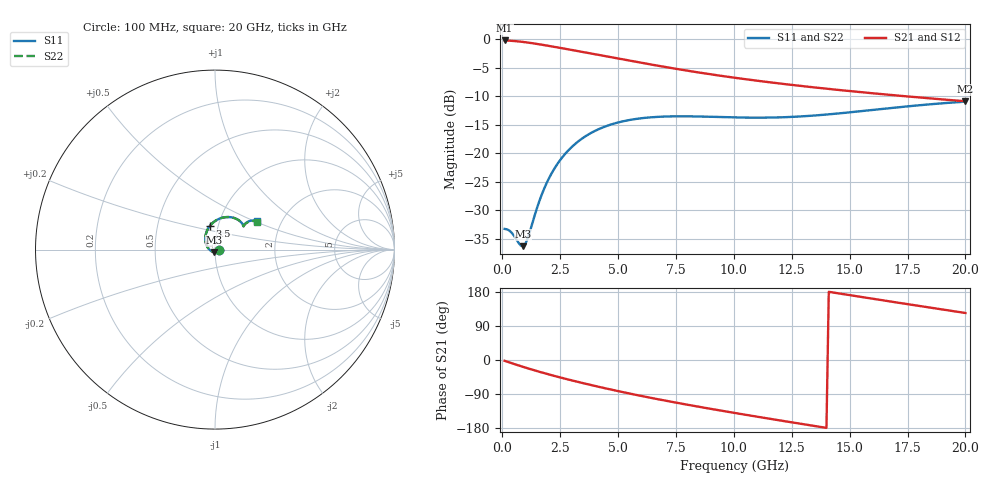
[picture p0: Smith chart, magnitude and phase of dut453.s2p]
! Touchstone file exported from HFSS 2024.1.0
!  File:  C:/UserFiles/LocalFiles/RDL_TSV_Batchsim/temp_RDL_TSV_453_1779725538.aedt
!  Generated:  12:24:52 AM May 26, 2026
!  Design:  RDL_TSV
!  Project:  temp_RDL_TSV_453_1779725538
!  Setup:  Setup1
!  Solution:  Sweep
! Variables:
!  dtsv = 12.44um
!  hbump = 3um
!  htsv = 98.19um
!  ldown = 657.47um
!  lrdl = 253.95um
!  p = 40
!  p1 = 40.43um
!  rhole = 10um
!  subl = 2988.21um
!  t = 450um
!  tdown = 3.58um
!  trdl = 2.35um
!  viad = 10um
!  wdown = 14.39um
!  wrdl = 19.14um
!  xbump = 18um
# GHz S MA R 50.000000
! Terminal data exported
! Port[1] = TM1_1_T1
! Port[2] = TM1_4_T1
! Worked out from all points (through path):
!   200 points, 100 MHz to 20 GHz, reference 50 ohm
!   highest |S21| = -0.20 dB at 100 MHz (marker M1); lowest = -10.9 dB at 20 GHz (marker M2)
!   group delay of S21, straight-line fit = 31 ps
!   lowest |S11| = -36.3 dB at 900 MHz (marker M3), VSWR 1.03, Z = 49.7 - j1.49 ohm
!   |S11| at or under -10 dB: start of sweep to end of sweep
!   |S22| runs from -36.3 to -11.0 dB; largest |S21 - S12| = 3.8e-14
!   S11 on the Smith chart (normalised r, x): 100 MHz: 1.04, -0.00; 3.5 GHz: 0.91, +0.25; 20 GHz: 1.51, +0.52
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0.1  0.02161 -6.2  0.9778 -2.1  0.9778 -2.1  0.02161 -6.2
! Gamma 0 0 0 0
! Port Impedance 50 0 50 0
0.4  0.02007 -29.9  0.9707 -8.3  0.9707 -8.3  0.02007 -29.9
0.8  0.01544 -82.2  0.9538 -16.3  0.9538 -16.3  0.01545 -82.2
0.9  0.01524 -100.7  0.9486 -18.2  0.9486 -18.2  0.01525 -100.6
1  0.01603 -119.8  0.943 -20.1  0.943 -20.1  0.01603 -119.6
1.1  0.01789 -137.4  0.9372 -22.0  0.9372 -22.0  0.01789 -137.3
1.6  0.03792 169.0  0.9047 -31.0  0.9047 -31.0  0.03786 169.1
1.8  0.04834 157.0  0.8908 -34.5  0.8908 -34.5  0.04825 157.0
2.1  0.06481 142.9  0.8696 -39.6  0.8696 -39.6  0.06471 142.9
2.7  0.09782 121.9  0.8274 -49.2  0.8274 -49.2  0.09767 121.9
3.5  0.1368 101.4  0.7729 -61.3  0.7729 -61.3  0.1366 101.4
4.2  0.1638 87.4  0.7275 -71.3  0.7275 -71.3  0.1636 87.4
4.9  0.1838 76.1  0.6845 -80.8  0.6845 -80.8  0.1836 76.1
5.8  0.2002 64.5  0.6334 -92.3  0.6334 -92.3  0.2 64.5
6.8  0.2089 54.8  0.5827 -104.4  0.5827 -104.4  0.2088 54.7
8.4  0.2102 44.8  0.5147 -122.5  0.5147 -122.5  0.2102 44.6
10.1  0.206 40.1  0.4579 -140.4  0.4579 -140.4  0.2061 39.9
11.7  0.2056 39.4  0.4158 -156.6  0.4158 -156.6  0.2057 39.1
13.4  0.2136 40.3  0.3796 -173.3  0.3796 -173.3  0.2134 39.9
16.7  0.2482 39.7  0.3258 155.0  0.3258 155.0  0.2474 39.2
18.3  0.2669 37.4  0.305 139.9  0.305 139.9  0.2657 37.0
20  0.2835 34.1  0.2858 124.1  0.2858 124.1  0.2822 33.6
